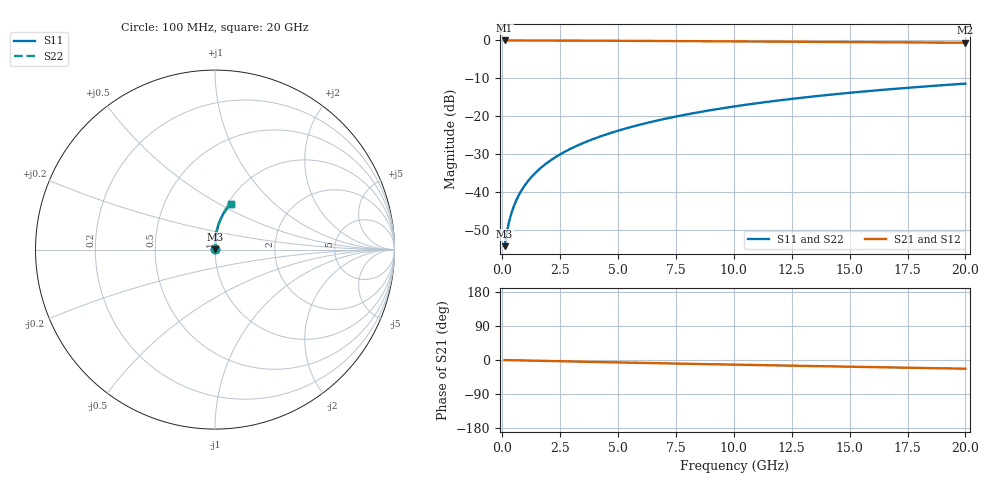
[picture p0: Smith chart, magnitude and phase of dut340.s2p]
! Touchstone file exported from HFSS 2024.1.0
!  File:  C:/UserFiles/LocalFiles/RDL_TSV_Batchsim/temp_RDL_bottom_340_1779611899.aedt
!  Generated:  04:40:53 PM May 24, 2026
!  Design:  RDL_bottom
!  Project:  temp_RDL_bottom_340_1779611899
!  Setup:  Setup1
!  Solution:  Sweep
! Variables:
!  dtsv = 10.80580581um
!  hbump = 3um
!  htsv = 53.08um
!  ldown = 267.19um
!  lrdl = 100um
!  p = 40
!  p1 = 57.85um
!  rhole = 1um
!  t = 450um
!  tdown = 3.74um
!  trdl = 3.915915916um
!  wdown = 20.24um
!  wrdl = 20um
# GHz S MA R 50.000000
! Terminal data exported
! Port[1] = RDL1_T1
! Port[2] = RDL1_T2
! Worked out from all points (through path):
!   200 points, 100 MHz to 20 GHz, reference 50 ohm
!   highest |S21| = -0.01 dB at 100 MHz (marker M1); lowest = -0.6 dB at 20 GHz (marker M2)
!   group delay of S21, straight-line fit = 3.16 ps
!   lowest |S11| = -54.2 dB at 100 MHz (marker M3), VSWR 1.00, Z = 50.1 + j0.133 ohm
!   |S11| at or under -10 dB: start of sweep to end of sweep
!   |S22| runs from -54.2 to -11.4 dB; largest |S21 - S12| = 3.4e-15
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0.1  0.00196 42.7  0.9986 -0.1  0.9986 -0.1  0.00196 42.7
! Gamma 0 0 0 0
! Port Impedance 50 0 50 0
0.2  0.003025 60.4  0.9985 -0.3  0.9985 -0.3  0.003025 60.4
0.3  0.004197 68.4  0.9984 -0.4  0.9984 -0.4  0.004197 68.4
0.4  0.005393 72.8  0.9983 -0.5  0.9983 -0.5  0.005393 72.8
0.5  0.006598 75.7  0.9983 -0.7  0.9983 -0.7  0.006599 75.7
0.6  0.007812 77.8  0.9982 -0.8  0.9982 -0.8  0.007812 77.8
0.8  0.01026 80.5  0.998 -1.1  0.998 -1.1  0.01026 80.5
1.1  0.01397 82.9  0.9977 -1.5  0.9977 -1.5  0.01397 82.9
1.5  0.01897 84.7  0.9973 -2.0  0.9973 -2.0  0.01897 84.7
1.8  0.02275 85.5  0.9968 -2.4  0.9968 -2.4  0.02275 85.5
2.1  0.02656 86.0  0.9963 -2.8  0.9963 -2.8  0.02656 86.0
2.7  0.03426 86.7  0.9951 -3.6  0.9951 -3.6  0.03426 86.7
3.5  0.04471 87.0  0.9932 -4.6  0.9932 -4.6  0.04471 87.0
4.2  0.05402 87.0  0.9913 -5.5  0.9913 -5.5  0.05402 87.0
5  0.06484 86.8  0.9888 -6.4  0.9888 -6.4  0.06484 86.8
5.9  0.07721 86.3  0.9858 -7.5  0.9858 -7.5  0.07721 86.3
6.8  0.08975 85.7  0.9827 -8.6  0.9827 -8.6  0.08975 85.7
8.4  0.1123 84.2  0.977 -10.4  0.977 -10.4  0.1123 84.2
10.1  0.1363 82.4  0.9707 -12.4  0.9707 -12.4  0.1363 82.4
13.4  0.1825 78.7  0.9582 -16.0  0.9582 -16.0  0.1825 78.7
16.7  0.2273 74.9  0.945 -19.5  0.945 -19.5  0.2273 74.9
20  0.27 71.1  0.931 -23.0  0.931 -23.0  0.2699 71.1
